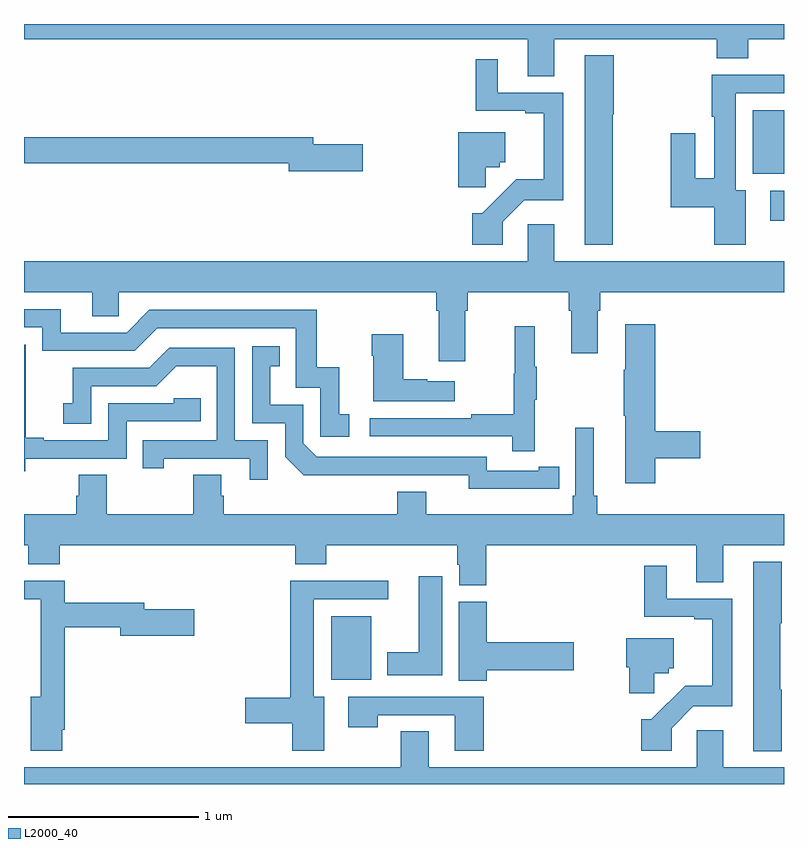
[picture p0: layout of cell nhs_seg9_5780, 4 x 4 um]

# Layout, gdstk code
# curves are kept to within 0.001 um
import gdstk
lib = gdstk.Library(unit=1e-6, precision=1e-09)
def R(c, l, rs):  # rectangles x0, y0, x1, y1
    for r in rs: c.add(gdstk.rectangle(r[:2], r[2:], *l))
def P(c, l, *ps):  # polygons
    for p in ps: c.add(gdstk.Polygon(p, *l))
L2000_40 = (2000, 40)

nhs_seg9_5780 = lib.new_cell('nhs_seg9_5780')
R(nhs_seg9_5780, L2000_40, [(448.616,1193.048,448.828,1193.383), (450.927,1195.464,451,1195.623), (450.836,1195.712,451,1196.047)])
P(nhs_seg9_5780, L2000_40, [(447,1196.42),(449.651,1196.42),(449.651,1196.226),(449.791,1196.226),(449.791,1196.42),(450.647,1196.42),(450.647,1196.321),(450.812,1196.321),(450.812,1196.42),(451,1196.42),(451,1196.5),(447,1196.5)],
  [(450.099,1196.025),(450.104,1196.025),(450.104,1196.335),(449.951,1196.335),(449.951,1195.337),(450.099,1195.337)],
  [(449.52,1195.458),(449.634,1195.572),(449.839,1195.572),(449.839,1196.139),(449.494,1196.139),(449.494,1196.314),(449.377,1196.314),(449.377,1196.043),(449.639,1196.043),(449.639,1196.031),(449.735,1196.031),(449.735,1195.682),(449.591,1195.682),(449.413,1195.504),(449.36,1195.504),(449.36,1195.338),(449.52,1195.338)],
  [(450.799,1195.624),(450.745,1195.624),(450.745,1196.136),(451,1196.136),(451,1196.234),(450.62,1196.234),(450.62,1196.011),(450.632,1196.011),(450.632,1195.688),(450.532,1195.688),(450.532,1195.924),(450.403,1195.924),(450.403,1195.535),(450.632,1195.535),(450.632,1195.338),(450.799,1195.338)],
  [(449.429,1195.746),(449.505,1195.746),(449.505,1195.773),(449.533,1195.773),(449.533,1195.93),(449.285,1195.93),(449.285,1195.641),(449.429,1195.641)],
  [(448.783,1195.868),(448.522,1195.868),(448.522,1195.904),(447,1195.904),(447,1195.768),(448.394,1195.768),(448.394,1195.726),(448.783,1195.726)],
  [(447,1195.088),(447.359,1195.088),(447.359,1194.961),(447.498,1194.961),(447.498,1195.088),(449.171,1195.088),(449.171,1194.992),(449.183,1194.992),(449.183,1194.726),(449.323,1194.726),(449.323,1194.992),(449.336,1194.992),(449.336,1195.088),(449.867,1195.088),(449.867,1194.992),(449.879,1194.992),(449.879,1194.768),(450.019,1194.768),(450.019,1194.992),(450.032,1194.992),(450.032,1195.088),(451,1195.088),(451,1195.252),(449.791,1195.252),(449.791,1195.447),(449.652,1195.447),(449.652,1195.252),(447,1195.252)],
  [(448.711,1194.447),(448.658,1194.447),(448.658,1194.694),(448.54,1194.694),(448.54,1194.996),(447.66,1194.996),(447.54,1194.876),(447.193,1194.876),(447.193,1194.999),(447,1194.999),(447,1194.903),(447.096,1194.903),(447.096,1194.78),(447.582,1194.78),(447.702,1194.9),(448.431,1194.9),(448.431,1194.585),(448.56,1194.585),(448.56,1194.327),(448.711,1194.327)],
  [(450.323,1194.214),(450.559,1194.214),(450.559,1194.356),(450.323,1194.356),(450.323,1194.919),(450.164,1194.919),(450.164,1194.68),(450.157,1194.68),(450.157,1194.439),(450.164,1194.439),(450.164,1194.084),(450.323,1194.084)],
  [(449.687,1194.523),(449.698,1194.523),(449.698,1194.697),(449.687,1194.697),(449.687,1194.91),(449.584,1194.91),(449.584,1194.66),(449.577,1194.66),(449.577,1194.446),(449.353,1194.446),(449.353,1194.426),(448.821,1194.426),(448.821,1194.33),(449.569,1194.33),(449.569,1194.252),(449.687,1194.252)],
  [(449.266,1194.619),(449.123,1194.619),(449.123,1194.629),(448.996,1194.629),(448.996,1194.868),(448.831,1194.868),(448.831,1194.755),(448.838,1194.755),(448.838,1194.515),(449.266,1194.515)],
  [(447.006,1194.213),(447.54,1194.213),(447.54,1194.408),(447.929,1194.408),(447.929,1194.531),(447.789,1194.531),(447.789,1194.504),(447.444,1194.504),(447.444,1194.309),(447.103,1194.309),(447.103,1194.322),(447.008,1194.322),(447.008,1194.605),(447.009,1194.605),(447.009,1194.811),(447,1194.811),(447,1194.145),(447.006,1194.145)],
  [(449.708,1194.054),(449.816,1194.054),(449.816,1194.17),(449.708,1194.17),(449.708,1194.15),(449.436,1194.15),(449.436,1194.222),(448.542,1194.222),(448.47,1194.294),(448.47,1194.495),(448.297,1194.495),(448.297,1194.699),(448.346,1194.699),(448.346,1194.805),(448.2,1194.805),(448.2,1194.399),(448.374,1194.399),(448.374,1194.222),(448.472,1194.125),(449.34,1194.126),(449.34,1194.053)],
  [(448.284,1194.309),(448.11,1194.309),(448.11,1194.795),(447.764,1194.795),(447.659,1194.69),(447.256,1194.69),(447.256,1194.505),(447.207,1194.505),(447.207,1194.396),(447.354,1194.396),(447.354,1194.594),(447.696,1194.594),(447.8,1194.698),(448.014,1194.698),(448.014,1194.309),(447.625,1194.309),(447.625,1194.162),(447.736,1194.162),(447.736,1194.213),(448.187,1194.213),(448.187,1194.102),(448.284,1194.102)],
  [(449.432,1193.756),(450.539,1193.756),(450.539,1193.562),(450.679,1193.562),(450.679,1193.756),(451,1193.756),(451,1193.92),(450.017,1193.92),(450.017,1194.016),(449.998,1194.016),(449.998,1194.376),(449.901,1194.376),(449.901,1194.016),(449.888,1194.016),(449.888,1193.92),(449.116,1193.92),(449.116,1194.037),(448.964,1194.037),(448.964,1193.92),(448.052,1193.92),(448.052,1194.018),(448.039,1194.018),(448.039,1194.128),(447.892,1194.128),(447.892,1193.92),(447.435,1193.92),(447.435,1194.128),(447.287,1194.128),(447.287,1194.018),(447.275,1194.018),(447.275,1193.92),(447,1193.92),(447,1193.756),(447.023,1193.756),(447.023,1193.657),(447.188,1193.657),(447.188,1193.756),(448.427,1193.756),(448.427,1193.657),(448.592,1193.657),(448.592,1193.756),(449.279,1193.756),(449.279,1193.655),(449.291,1193.655),(449.291,1193.545),(449.432,1193.545)],
  [(450.987,1192.997),(450.979,1192.997),(450.979,1193.347),(450.987,1193.347),(450.987,1193.671),(450.839,1193.671),(450.839,1192.673),(450.987,1192.673)],
  [(450.408,1192.794),(450.522,1192.908),(450.727,1192.908),(450.727,1193.475),(450.382,1193.475),(450.382,1193.65),(450.265,1193.65),(450.265,1193.379),(450.527,1193.379),(450.527,1193.367),(450.623,1193.367),(450.623,1193.018),(450.479,1193.018),(450.301,1192.84),(450.248,1192.84),(450.248,1192.674),(450.408,1192.674)],
  [(449.2,1193.593),(449.078,1193.593),(449.078,1193.194),(448.913,1193.194),(448.913,1193.072),(449.2,1193.072)],
  [(447.202,1192.786),(447.215,1192.786),(447.215,1193.326),(447.506,1193.326),(447.506,1193.279),(447.895,1193.279),(447.895,1193.421),(447.634,1193.421),(447.634,1193.455),(447.215,1193.455),(447.215,1193.57),(447,1193.57),(447,1193.472),(447.089,1193.472),(447.089,1192.96),(447.035,1192.96),(447.035,1192.674),(447.202,1192.674)],
  [(448.579,1192.96),(448.525,1192.96),(448.525,1193.472),(448.918,1193.472),(448.918,1193.57),(448.4,1193.57),(448.4,1192.955),(448.164,1192.955),(448.164,1192.82),(448.412,1192.82),(448.412,1192.674),(448.579,1192.674)],
  [(449.435,1193.099),(449.893,1193.099),(449.893,1193.246),(449.435,1193.246),(449.435,1193.46),(449.288,1193.46),(449.288,1193.044),(449.435,1193.044)],
  [(450.317,1193.082),(450.393,1193.082),(450.393,1193.109),(450.421,1193.109),(450.421,1193.266),(450.17,1193.266),(450.17,1193.115),(450.185,1193.115),(450.185,1192.977),(450.317,1192.977)],
  [(449.42,1192.959),(448.707,1192.959),(448.707,1192.8),(448.863,1192.8),(448.863,1192.863),(449.267,1192.863),(449.267,1192.674),(449.42,1192.674)],
  [(451,1192.588),(450.679,1192.588),(450.679,1192.783),(450.54,1192.783),(450.54,1192.588),(449.131,1192.588),(449.131,1192.778),(448.984,1192.778),(448.984,1192.588),(447,1192.588),(447,1192.5),(451,1192.5)])

lib.write_gds('nhs_seg9_5780.gds')
